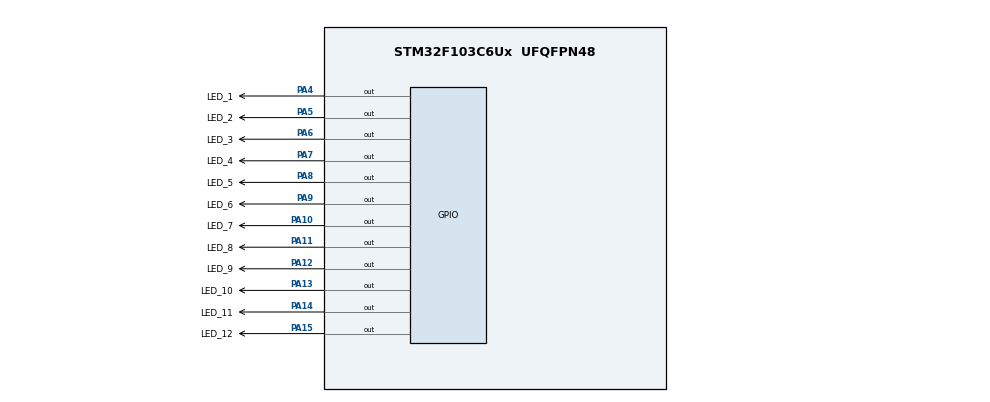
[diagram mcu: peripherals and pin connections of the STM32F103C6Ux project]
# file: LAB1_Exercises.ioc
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Mcu.Family=STM32F1
Mcu.Name=STM32F103C6Ux
Mcu.Package=UFQFPN48
NVIC.PriorityGroup=NVIC_PRIORITYGROUP_4
PA10.GPIO_Label=LED_7
PA10.Signal=GPIO_Output
PA11.GPIO_Label=LED_8
PA11.Signal=GPIO_Output
PA12.GPIO_Label=LED_9
PA12.Signal=GPIO_Output
PA13.GPIO_Label=LED_10
PA13.Signal=GPIO_Output
PA14.GPIO_Label=LED_11
PA14.Signal=GPIO_Output
PA15.GPIO_Label=LED_12
PA15.Signal=GPIO_Output
PA4.GPIO_Label=LED_1
PA4.Signal=GPIO_Output
PA5.GPIO_Label=LED_2
PA5.Signal=GPIO_Output
PA6.GPIO_Label=LED_3
PA6.Signal=GPIO_Output
PA7.GPIO_Label=LED_4
PA7.Signal=GPIO_Output
PA8.GPIO_Label=LED_5
PA8.Signal=GPIO_Output
PA9.GPIO_Label=LED_6
PA9.Signal=GPIO_Output
ProjectManager.HeapSize=0x200
ProjectManager.StackSize=0x400
ProjectManager.TargetToolchain=STM32CubeIDE
RCC.APB1Freq_Value=8000000
RCC.APB2Freq_Value=8000000
VP_SYS_VS_ND.Mode=No_Debug
board=custom

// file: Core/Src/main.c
/* USER CODE BEGIN Header */
/**
  ******************************************************************************
  * @file           : main.c
  * @brief          : Main program body
  ******************************************************************************
  * @attention
  *
  * <h2><center>&copy; Copyright (c) 2024 STMicroelectronics.
  * All rights reserved.</center></h2>
  *
  * This software component is licensed by ST under BSD 3-Clause license,
  * the "License"; You may not use this file except in compliance with the
  * License. You may obtain a copy of the License at:
  *                        opensource.org/licenses/BSD-3-Clause
  *
  ******************************************************************************
  */
/* USER CODE END Header */
#include "main.h"

void SystemClock_Config(void);
static void MX_GPIO_Init(void);

int main(void)
{

  /* MCU Configuration--------------------------------------------------------*/

  /* Reset of all peripherals, Initializes the Flash interface and the Systick. */
  HAL_Init();

  /* Configure the system clock */
  SystemClock_Config();

  /* Initialize all configured peripherals */
  MX_GPIO_Init();
  /* USER CODE BEGIN 2 */
  void clearAllClock (){
	  	  	HAL_GPIO_WritePin(LED_1_GPIO_Port,LED_1_Pin, SET);
	  	  	HAL_GPIO_WritePin(LED_2_GPIO_Port,LED_2_Pin, SET);
	  	  	HAL_GPIO_WritePin(LED_3_GPIO_Port,LED_3_Pin, SET);
	  	  	HAL_GPIO_WritePin(LED_4_GPIO_Port,LED_4_Pin, SET);
	  	  	HAL_GPIO_WritePin(LED_5_GPIO_Port,LED_5_Pin, SET);
	  	  	HAL_GPIO_WritePin(LED_6_GPIO_Port,LED_6_Pin, SET);
	  	  	HAL_GPIO_WritePin(LED_7_GPIO_Port,LED_7_Pin, SET);
	  	  	HAL_GPIO_WritePin(LED_8_GPIO_Port,LED_8_Pin, SET);
	  	  	HAL_GPIO_WritePin(LED_9_GPIO_Port,LED_9_Pin, SET);
	  	  	HAL_GPIO_WritePin(LED_10_GPIO_Port,LED_10_Pin, SET);
	  	  	HAL_GPIO_WritePin(LED_11_GPIO_Port,LED_11_Pin, SET);
	  	  	HAL_GPIO_WritePin(LED_12_GPIO_Port,LED_12_Pin, SET);

  }

  	  void setNumberOnClock(int num){
  		switch (num){
  							case 1:
  		  	  			  	  		  	  	HAL_GPIO_WritePin(LED_1_GPIO_Port,LED_1_Pin, RESET);
  		  	  			  	  		  	  	break;
  		  	  			  	case 2:
  		  	  			  	 		  	  	HAL_GPIO_WritePin(LED_2_GPIO_Port,LED_2_Pin, RESET);
  		  	  			  	  		  	  	break;
  		  	  			  	case 3:
  		  	  			  	  	  	  		HAL_GPIO_WritePin(LED_3_GPIO_Port,LED_3_Pin, RESET);
  		  	  			  	  	  	  		break;
  		  	  			  	case 4:
  		  	  			  		  	  		HAL_GPIO_WritePin(LED_4_GPIO_Port,LED_4_Pin, RESET);
  		  	  			  		  	  		break;
  		  	  			  	case 5:
  		  	  			  		  	  		HAL_GPIO_WritePin(LED_5_GPIO_Port,LED_5_Pin, RESET);
  		  	  			  		  	  		break;
  		  	  			  	case 6:
  		  	  			  		  	  		HAL_GPIO_WritePin(LED_6_GPIO_Port,LED_6_Pin, RESET);
  		  	  			  		  	  		break;
  		  	  			  	case 7:
  		  	  			  		  	  		HAL_GPIO_WritePin(LED_7_GPIO_Port,LED_7_Pin, RESET);
  		  	  			  		  	  		break;
  		  	  			  	case 8:
  		  	  			  		  	  		HAL_GPIO_WritePin(LED_8_GPIO_Port,LED_8_Pin, RESET);
  		  	  			  		  	  		break;
  		  	  			  	case 9:
  		  	  			  		  	  		HAL_GPIO_WritePin(LED_9_GPIO_Port,LED_9_Pin, RESET);
  		  	  			  		  	  		break;
  		  	  			  	case 10:
  		  	  			  		  	  		HAL_GPIO_WritePin(LED_10_GPIO_Port,LED_10_Pin, RESET);
  		  	  			  		  	  		break;
  		  	  			  	case 11:

  		  	  			  		  	  		HAL_GPIO_WritePin(LED_11_GPIO_Port,LED_11_Pin, RESET);
  		  	  			  		  	  		break;
  		  	  			  	case 0:
  		  	  			  		  	  		HAL_GPIO_WritePin(LED_12_GPIO_Port,LED_12_Pin, RESET);
  		  	  			  		  	  		break;
  			  	  }
  	  }
  	  	  void clearNumberOnClock(int num){
  	  		switch (num){
  	  			  	case 1:
  	  			  	  		  	  	HAL_GPIO_WritePin(LED_1_GPIO_Port,LED_1_Pin, SET);
  	  			  	  		  	  	break;
  	  			  	case 2:
  	  			  	 		  	  	HAL_GPIO_WritePin(LED_2_GPIO_Port,LED_2_Pin, SET);
  	  			  	  		  	  	break;
  	  			  	case 3:
  	  			  	  	  	  		HAL_GPIO_WritePin(LED_3_GPIO_Port,LED_3_Pin, SET);
  	  			  	  	  	  		break;
  	  			  	case 4:
  	  			  		  	  		HAL_GPIO_WritePin(LED_4_GPIO_Port,LED_4_Pin, SET);
  	  			  		  	  		break;
  	  			  	case 5:
  	  			  		  	  		HAL_GPIO_WritePin(LED_5_GPIO_Port,LED_5_Pin, SET);
  	  			  		  	  		break;
  	  			  	case 6:
  	  			  		  	  		HAL_GPIO_WritePin(LED_6_GPIO_Port,LED_6_Pin, SET);
  	  			  		  	  		break;
  	  			  	case 7:
  	  			  		  	  		HAL_GPIO_WritePin(LED_7_GPIO_Port,LED_7_Pin, SET);
  	  			  		  	  		break;
  	  			  	case 8:
  	  			  		  	  		HAL_GPIO_WritePin(LED_8_GPIO_Port,LED_8_Pin, SET);
  	  			  		  	  		break;
  	  			  	case 9:
  	  			  		  	  		HAL_GPIO_WritePin(LED_9_GPIO_Port,LED_9_Pin, SET);
  	  			  		  	  		break;
  	  			  	case 10:
  	  			  		  	  		HAL_GPIO_WritePin(LED_10_GPIO_Port,LED_10_Pin, SET);
  	  			  		  	  		break;
  	  			  	case 11:
  	  			  		  	  		HAL_GPIO_WritePin(LED_11_GPIO_Port,LED_11_Pin, SET);
  	  			  		  	  		break;
  	  			  	case 0:
  	  			  		  	  		HAL_GPIO_WritePin(LED_12_GPIO_Port,LED_12_Pin, SET);
  	  			  		  	  		break;
  	  			  	  }
  	  	  }
  	  	  int hour=0; int min=0; int sec=0;
  /* USER CODE END 2 */
  /* Infinite loop */
  while (1)
  {

    /* USER CODE BEGIN 3 */
	  	  	  	  HAL_GPIO_TogglePin(LED_2_GPIO_Port,LED_2_Pin);
	 	  	  	  HAL_GPIO_TogglePin(LED_3_GPIO_Port,LED_3_Pin);
	 	  	  	  HAL_GPIO_TogglePin(LED_4_GPIO_Port,LED_4_Pin);
	 	  	  	  HAL_GPIO_TogglePin(LED_5_GPIO_Port,LED_5_Pin);
	 	  	  	  HAL_GPIO_TogglePin(LED_6_GPIO_Port,LED_6_Pin);
	 	  	  	  HAL_GPIO_TogglePin(LED_7_GPIO_Port,LED_7_Pin);
	 	  	  	  HAL_GPIO_TogglePin(LED_8_GPIO_Port,LED_8_Pin);
	 	  	  	  HAL_GPIO_TogglePin(LED_9_GPIO_Port,LED_9_Pin);
	 	  	  	  HAL_GPIO_TogglePin(LED_10_GPIO_Port,LED_10_Pin);
	 	  	  	  HAL_GPIO_TogglePin(LED_11_GPIO_Port,LED_11_Pin);
	 	  	  	  HAL_GPIO_TogglePin(LED_12_GPIO_Port,LED_12_Pin);
	 	  	  	  clearAllClock();
	 	  	  	  clearNumberOnClock(hour - 1);
				  clearNumberOnClock(min - 1);
				  clearNumberOnClock(sec - 1);
	 	  	  	  setNumberOnClock(hour);
	 	  	  	  setNumberOnClock(min);
	 	  	  	  setNumberOnClock(sec);
	 	  	  	  sec= sec+1;
	 	  	  	  if (sec > 11) {
	 	  	  		  sec=0;
	 	  	  		  min++;
	 	  	  	  }
	 	  	  	  if (min > 11) {
	 	  	  		  min=0;
	 	  	  		  hour++;
	 	  	  	  }
	 	  	  	  if (hour > 11) {
	 	  	  		  hour = 0;
	 	  	  	  }
	 	  	  	  HAL_Delay (1000);
  }
  /* USER CODE END 3 */
}

void SystemClock_Config(void)
{
  RCC_OscInitTypeDef RCC_OscInitStruct = {0};
  RCC_ClkInitTypeDef RCC_ClkInitStruct = {0};

  /** Initializes the RCC Oscillators according to the specified parameters
  * in the RCC_OscInitTypeDef structure.
  */
  RCC_OscInitStruct.OscillatorType = RCC_OSCILLATORTYPE_HSI;
  RCC_OscInitStruct.HSIState = RCC_HSI_ON;
  RCC_OscInitStruct.HSICalibrationValue = RCC_HSICALIBRATION_DEFAULT;
  RCC_OscInitStruct.PLL.PLLState = RCC_PLL_NONE;
  if (HAL_RCC_OscConfig(&RCC_OscInitStruct) != HAL_OK)
  {
    Error_Handler();
  }
  /** Initializes the CPU, AHB and APB buses clocks
  */
  RCC_ClkInitStruct.ClockType = RCC_CLOCKTYPE_HCLK|RCC_CLOCKTYPE_SYSCLK
                              |RCC_CLOCKTYPE_PCLK1|RCC_CLOCKTYPE_PCLK2;
  RCC_ClkInitStruct.SYSCLKSource = RCC_SYSCLKSOURCE_HSI;
  RCC_ClkInitStruct.AHBCLKDivider = RCC_SYSCLK_DIV1;
  RCC_ClkInitStruct.APB1CLKDivider = RCC_HCLK_DIV1;
  RCC_ClkInitStruct.APB2CLKDivider = RCC_HCLK_DIV1;

  if (HAL_RCC_ClockConfig(&RCC_ClkInitStruct, FLASH_LATENCY_0) != HAL_OK)
  {
    Error_Handler();
  }
}

static void MX_GPIO_Init(void)
{
  GPIO_InitTypeDef GPIO_InitStruct = {0};

  /* GPIO Ports Clock Enable */
  __HAL_RCC_GPIOA_CLK_ENABLE();

  /*Configure GPIO pin Output Level */
  HAL_GPIO_WritePin(GPIOA, LED_1_Pin|LED_2_Pin|LED_3_Pin|LED_4_Pin
                          |LED_5_Pin|LED_6_Pin|LED_7_Pin|LED_8_Pin
                          |LED_9_Pin|LED_10_Pin|LED_11_Pin|LED_12_Pin, GPIO_PIN_RESET);

  /*Configure GPIO pins : LED_1_Pin LED_2_Pin LED_3_Pin LED_4_Pin
                           LED_5_Pin LED_6_Pin LED_7_Pin LED_8_Pin
                           LED_9_Pin LED_10_Pin LED_11_Pin LED_12_Pin */
  GPIO_InitStruct.Pin = LED_1_Pin|LED_2_Pin|LED_3_Pin|LED_4_Pin
                          |LED_5_Pin|LED_6_Pin|LED_7_Pin|LED_8_Pin
                          |LED_9_Pin|LED_10_Pin|LED_11_Pin|LED_12_Pin;
  GPIO_InitStruct.Mode = GPIO_MODE_OUTPUT_PP;
  GPIO_InitStruct.Pull = GPIO_NOPULL;
  GPIO_InitStruct.Speed = GPIO_SPEED_FREQ_LOW;
  HAL_GPIO_Init(GPIOA, &GPIO_InitStruct);

}

void Error_Handler(void)
{
  __disable_irq();
  while (1)
  {
  }
}

/************************ (C) COPYRIGHT STMicroelectronics *****END OF FILE****/
